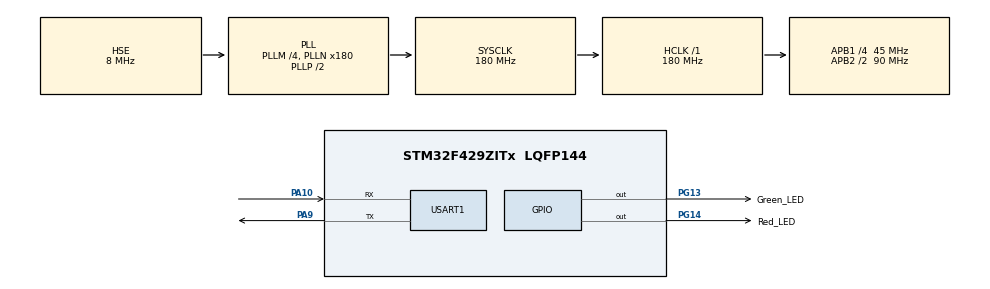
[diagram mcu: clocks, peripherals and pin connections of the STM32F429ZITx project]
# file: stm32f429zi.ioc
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Mcu.Family=STM32F4
Mcu.Name=STM32F429ZITx
Mcu.Package=LQFP144
NVIC.PriorityGroup=NVIC_PRIORITYGROUP_4
PA10.Mode=Asynchronous
PA10.Signal=USART1_RX
PA13.Mode=Serial_Wire
PA13.Signal=SYS_JTMS-SWDIO
PA14.Mode=Serial_Wire
PA14.Signal=SYS_JTCK-SWCLK
PA9.Mode=Asynchronous
PA9.Signal=USART1_TX
PG13.GPIO_Label=Green_LED
PG13.PinState=GPIO_PIN_SET
PG13.Signal=GPIO_Output
PG14.GPIO_Label=Red_LED
PG14.PinState=GPIO_PIN_SET
PG14.Signal=GPIO_Output
PH0/OSC_IN.Mode=HSE-External-Oscillator
PH0/OSC_IN.Signal=RCC_OSC_IN
PH1/OSC_OUT.Mode=HSE-External-Oscillator
PH1/OSC_OUT.Signal=RCC_OSC_OUT
ProjectManager.HeapSize=0x200
ProjectManager.StackSize=0x1000
ProjectManager.TargetToolchain=SW4STM32
RCC.48MHZClocksFreq_Value=90000000
RCC.AHBFreq_Value=180000000
RCC.APB1CLKDivider=RCC_HCLK_DIV4
RCC.APB1Freq_Value=45000000
RCC.APB1TimFreq_Value=90000000
RCC.APB2CLKDivider=RCC_HCLK_DIV2
RCC.APB2Freq_Value=90000000
RCC.APB2TimFreq_Value=180000000
RCC.CortexFreq_Value=180000000
RCC.HCLKFreq_Value=180000000
RCC.HSE_VALUE=8000000
RCC.HSI_VALUE=16000000
RCC.LSE_VALUE=32768
RCC.PLLM=4
RCC.PLLN=180
RCC.PLLSourceVirtual=RCC_PLLSOURCE_HSE
RCC.SYSCLKFreq_VALUE=180000000
RCC.SYSCLKSource=RCC_SYSCLKSOURCE_PLLCLK
RCC.VCOOutputFreq_Value=360000000
USART1.VirtualMode=VM_ASYNC
board=custom

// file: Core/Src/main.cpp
/**
  ******************************************************************************
  * @file           : main.c
  * @brief          : Main program body
  ******************************************************************************
  ** This notice applies to any and all portions of this file
  * that are not between comment pairs USER CODE BEGIN and
  * USER CODE END. Other portions of this file, whether
  * inserted by the user or by software development tools
  * are owned by their respective copyright owners.
  *
  * COPYRIGHT(c) 2018 STMicroelectronics
  *
  * Redistribution and use in source and binary forms, with or without modification,
  * are permitted provided that the following conditions are met:
  *   1. Redistributions of source code must retain the above copyright notice,
  *      this list of conditions and the following disclaimer.
  *   2. Redistributions in binary form must reproduce the above copyright notice,
  *      this list of conditions and the following disclaimer in the documentation
  *      and/or other materials provided with the distribution.
  *   3. Neither the name of STMicroelectronics nor the names of its contributors
  *      may be used to endorse or promote products derived from this software
  *      without specific prior written permission.
  *
  * THIS SOFTWARE IS PROVIDED BY THE COPYRIGHT HOLDERS AND CONTRIBUTORS "AS IS"
  * AND ANY EXPRESS OR IMPLIED WARRANTIES, INCLUDING, BUT NOT LIMITED TO, THE
  * IMPLIED WARRANTIES OF MERCHANTABILITY AND FITNESS FOR A PARTICULAR PURPOSE ARE
  * DISCLAIMED. IN NO EVENT SHALL THE COPYRIGHT HOLDER OR CONTRIBUTORS BE LIABLE
  * FOR ANY DIRECT, INDIRECT, INCIDENTAL, SPECIAL, EXEMPLARY, OR CONSEQUENTIAL
  * DAMAGES (INCLUDING, BUT NOT LIMITED TO, PROCUREMENT OF SUBSTITUTE GOODS OR
  * SERVICES; LOSS OF USE, DATA, OR PROFITS; OR BUSINESS INTERRUPTION) HOWEVER
  * CAUSED AND ON ANY THEORY OF LIABILITY, WHETHER IN CONTRACT, STRICT LIABILITY,
  * OR TORT (INCLUDING NEGLIGENCE OR OTHERWISE) ARISING IN ANY WAY OUT OF THE USE
  * OF THIS SOFTWARE, EVEN IF ADVISED OF THE POSSIBILITY OF SUCH DAMAGE.
  *
  ******************************************************************************
  */
#include "main.h"
#include "stm32f4xx_hal.h"
#include "usart.h"
#include "gpio.h"

/* USER CODE BEGIN Includes */
#include "kws_ds_cnn.h"
#include "wav_data.h"
/* USER CODE END Includes */

/* USER CODE BEGIN PV */
/* Private variables ---------------------------------------------------------*/

/* USER CODE END PV */

void SystemClock_Config(void);

/* USER CODE BEGIN PFP */
/* Private function prototypes -----------------------------------------------*/

/* USER CODE END PFP */

/* USER CODE BEGIN 0 */

char output_class[12][8] = {"Silence", "Unknown","yes","no","up","down","left","right","on","off","stop","go"};
int16_t audio_buffer[16000]=WAVE_DATA;

/* USER CODE END 0 */

int main(void)
{

  /* MCU Configuration----------------------------------------------------------*/

  /* Reset of all peripherals, Initializes the Flash interface and the Systick. */
  HAL_Init();

  /* Configure the system clock */
  SystemClock_Config();

  /* Initialize all configured peripherals */
  MX_GPIO_Init();
  MX_USART1_UART_Init();
  /* USER CODE BEGIN 2 */
  KWS_DS_CNN kws_dnn(audio_buffer);

  /* USER CODE END 2 */

  /* Infinite loop */
  /* USER CODE BEGIN WHILE */
  while (1)
  {
	  HAL_GPIO_TogglePin(Green_LED_GPIO_Port, Green_LED_Pin);
	  HAL_GPIO_TogglePin(Red_LED_GPIO_Port, Red_LED_Pin);
	  //HAL_Delay(500);

	  kws_dnn.extract_features(); //extract mfcc features
	  kws_dnn.classify();	  //classify using dnn
	  int max_ind = kws_dnn.get_top_class(kws_dnn.output);
	  printf("Detected: %s (%d%%)\r\n",output_class[max_ind],((int)kws_dnn.output[max_ind]*100/128));
	  HAL_GPIO_TogglePin(Green_LED_GPIO_Port, Green_LED_Pin);
	  HAL_GPIO_TogglePin(Red_LED_GPIO_Port, Red_LED_Pin);

  /* USER CODE END WHILE */

  }

}

void SystemClock_Config(void)
{

  RCC_OscInitTypeDef RCC_OscInitStruct;
  RCC_ClkInitTypeDef RCC_ClkInitStruct;

    /**Configure the main internal regulator output voltage
    */
  __HAL_RCC_PWR_CLK_ENABLE();

  __HAL_PWR_VOLTAGESCALING_CONFIG(PWR_REGULATOR_VOLTAGE_SCALE1);

    /**Initializes the CPU, AHB and APB busses clocks
    */
  RCC_OscInitStruct.OscillatorType = RCC_OSCILLATORTYPE_HSE;
  RCC_OscInitStruct.HSEState = RCC_HSE_ON;
  RCC_OscInitStruct.PLL.PLLState = RCC_PLL_ON;
  RCC_OscInitStruct.PLL.PLLSource = RCC_PLLSOURCE_HSE;
  RCC_OscInitStruct.PLL.PLLM = 4;
  RCC_OscInitStruct.PLL.PLLN = 180;
  RCC_OscInitStruct.PLL.PLLP = RCC_PLLP_DIV2;
  RCC_OscInitStruct.PLL.PLLQ = 4;
  if (HAL_RCC_OscConfig(&RCC_OscInitStruct) != HAL_OK)
  {
    _Error_Handler(__FILE__, __LINE__);
  }

    /**Activate the Over-Drive mode
    */
  if (HAL_PWREx_EnableOverDrive() != HAL_OK)
  {
    _Error_Handler(__FILE__, __LINE__);
  }

    /**Initializes the CPU, AHB and APB busses clocks
    */
  RCC_ClkInitStruct.ClockType = RCC_CLOCKTYPE_HCLK|RCC_CLOCKTYPE_SYSCLK
                              |RCC_CLOCKTYPE_PCLK1|RCC_CLOCKTYPE_PCLK2;
  RCC_ClkInitStruct.SYSCLKSource = RCC_SYSCLKSOURCE_PLLCLK;
  RCC_ClkInitStruct.AHBCLKDivider = RCC_SYSCLK_DIV1;
  RCC_ClkInitStruct.APB1CLKDivider = RCC_HCLK_DIV4;
  RCC_ClkInitStruct.APB2CLKDivider = RCC_HCLK_DIV2;

  if (HAL_RCC_ClockConfig(&RCC_ClkInitStruct, FLASH_LATENCY_5) != HAL_OK)
  {
    _Error_Handler(__FILE__, __LINE__);
  }

    /**Configure the Systick interrupt time
    */
  HAL_SYSTICK_Config(HAL_RCC_GetHCLKFreq()/1000);

    /**Configure the Systick
    */
  HAL_SYSTICK_CLKSourceConfig(SYSTICK_CLKSOURCE_HCLK);

  /* SysTick_IRQn interrupt configuration */
  HAL_NVIC_SetPriority(SysTick_IRQn, 0, 0);
}

/* USER CODE BEGIN 4 */
extern "C"
int _write(int fd, char* buf, int len)
{
	HAL_UART_Transmit(&huart1, (uint8_t *)buf, len, 500);

	return len;
}

/* USER CODE END 4 */

void _Error_Handler(char *file, int line)
{
  while(1)
  {
  }
}

/************************ (C) COPYRIGHT STMicroelectronics *****END OF FILE****/
